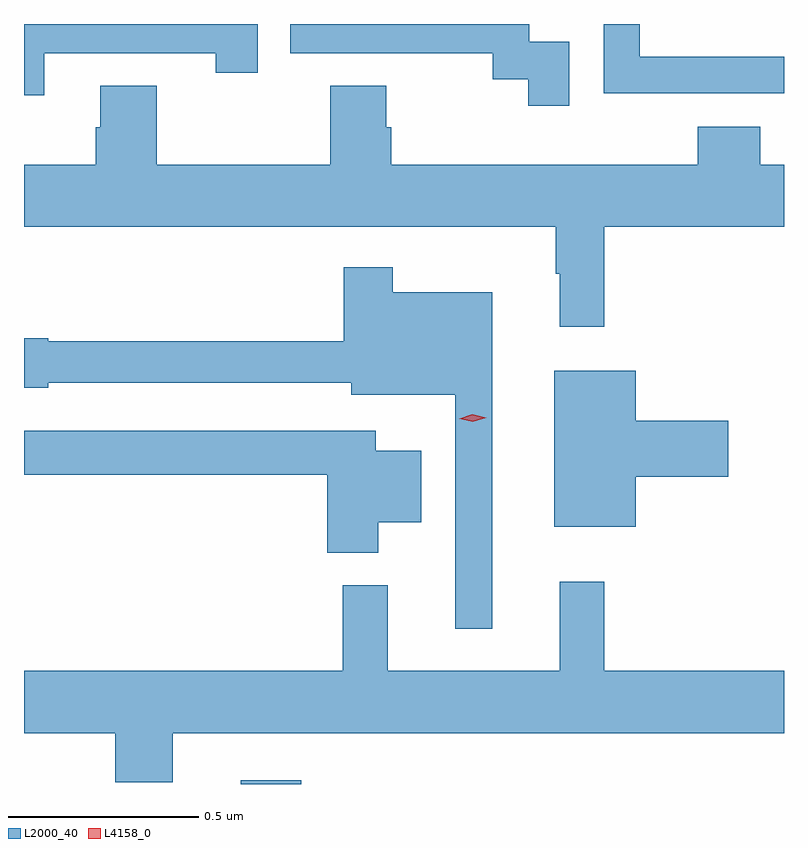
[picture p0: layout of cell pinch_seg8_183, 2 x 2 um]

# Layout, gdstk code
import gdstk
lib = gdstk.Library(unit=1e-6, precision=1e-09)
def R(c, l, rs):  # rectangles x0, y0, x1, y1
    for r in rs: c.add(gdstk.rectangle(r[:2], r[2:], *l))
def P(c, l, *ps):  # polygons
    for p in ps: c.add(gdstk.Polygon(p, *l))
L2000_40 = (2000, 40)
L4158_0 = (4158, 0)

pinch_seg8_183 = lib.new_cell('pinch_seg8_183')
R(pinch_seg8_183, L2000_40, [(630.65,1152.33,630.809,1152.34)])
P(pinch_seg8_183, L2000_40, [(632.08,1154.244),(631.701,1154.244),(631.701,1154.33),(631.605,1154.33),(631.605,1154.148),(632.08,1154.148)],
  [(630.133,1154.253),(630.584,1154.253),(630.584,1154.202),(630.695,1154.202),(630.695,1154.33),(630.08,1154.33),(630.08,1154.142),(630.133,1154.142)],
  [(631.515,1154.283),(631.41,1154.283),(631.41,1154.33),(630.78,1154.33),(630.78,1154.253),(631.314,1154.253),(631.314,1154.185),(631.407,1154.185),(631.407,1154.115),(631.515,1154.115)],
  [(631.607,1153.796),(632.08,1153.796),(632.08,1153.96),(632.018,1153.96),(632.018,1154.059),(631.853,1154.059),(631.853,1153.96),(631.046,1153.96),(631.046,1154.058),(631.033,1154.058),(631.033,1154.168),(630.886,1154.168),(630.886,1153.96),(630.429,1153.96),(630.429,1154.168),(630.281,1154.168),(630.281,1154.058),(630.269,1154.058),(630.269,1153.96),(630.08,1153.96),(630.08,1153.796),(631.479,1153.796),(631.479,1153.673),(631.49,1153.673),(631.49,1153.533),(631.607,1153.533)],
  [(631.312,1153.624),(631.051,1153.624),(631.051,1153.69),(630.922,1153.69),(630.922,1153.495),(630.144,1153.495),(630.144,1153.503),(630.08,1153.503),(630.08,1153.373),(630.144,1153.373),(630.144,1153.386),(630.941,1153.386),(630.941,1153.355),(631.215,1153.355),(631.215,1152.738),(631.312,1152.738)],
  [(631.69,1153.139),(631.933,1153.139),(631.933,1153.286),(631.69,1153.286),(631.69,1153.417),(631.475,1153.417),(631.475,1153.007),(631.69,1153.007)],
  [(631.012,1153.019),(631.126,1153.019),(631.126,1153.207),(631.006,1153.207),(631.006,1153.26),(630.08,1153.26),(630.08,1153.144),(630.878,1153.144),(630.878,1152.938),(631.012,1152.938)],
  [(630.472,1152.464),(632.08,1152.464),(632.08,1152.628),(631.607,1152.628),(631.607,1152.862),(631.49,1152.862),(631.49,1152.628),(631.037,1152.628),(631.037,1152.853),(630.919,1152.853),(630.919,1152.628),(630.08,1152.628),(630.08,1152.464),(630.32,1152.464),(630.32,1152.334),(630.472,1152.334)])
P(pinch_seg8_183, L4158_0, [(631.261,1153.283),(631.225,1153.291),(631.225,1153.291),(631.225,1153.291),(631.26,1153.303),(631.296,1153.294),(631.297,1153.294),(631.296,1153.294)])

lib.write_gds('pinch_seg8_183.gds')
